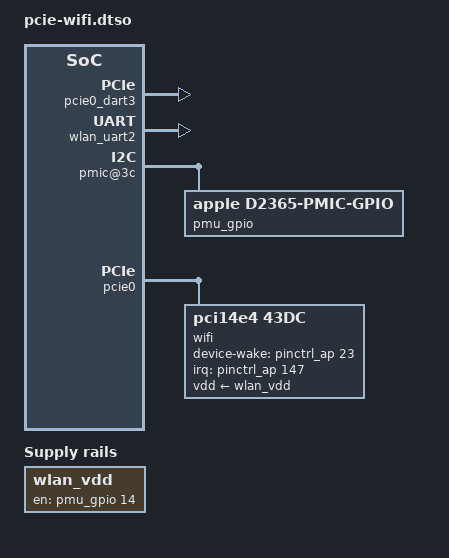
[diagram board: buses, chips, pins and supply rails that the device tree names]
/dts-v1/;
/plugin/;
/* J71b fresh-boot PCIe root0+root3 diagnostic. Root0 only enumerates ANS;
 * NVMe modules are NEVER loaded. Root3 probes BCM4355. No J172 board data.
 * This DTB is assembled offline, not applied to a running storage host.
 */
/ {
	compatible = "apple,j71b";
	fragment@0 {
		target-path = "/soc";
		__overlay__ {
			#address-cells = <2>;
			#size-cells = <2>;
			pcie0_dart3: iommu@604008000 {
				compatible = "apple,t8010-dart", "apple,s5l8960x-dart";
				reg = <0x6 0x04008000 0 0x4000>;
				#iommu-cells = <1>;
				interrupt-parent = <&aic>;
				interrupts = <0 280 4>;
				power-domains = <&ps_pcie>;
				apple,dma-range = <0 0x80000000 0 0x3ffff000>;
				status = "okay";
			};
			wlan_uart2: wlan-platform-control@20a0c8000 {
				compatible = "apple,t8010-wlan-uart-provider";
				reg = <2 0x0a0c8000 0 0x4000>;
				pinctrl-0 = <&wlan_uart2_pins>;
				pinctrl-names = "default";
				power-domains = <&ps_uart2>;
				status = "okay";
			};
		};
	};
	fragment@1 {
		target-path = "/soc/i2c@20a110000/pmic@3c";
		__overlay__ {
			pmu_gpio: gpio {
				compatible = "apple,d2365-pmic-gpio";
				gpio-controller;
				#gpio-cells = <2>;
				gpio-reserved-ranges = <0 13>, <15 9>;
			};
		};
	};
	fragment@2 {
		target-path = "/";
		__overlay__ {
			wlan_vdd: regulator-wlan-vdd {
				compatible = "regulator-fixed";
				regulator-name = "wlan-vdd";
				gpio = <&pmu_gpio 14 0>;
				enable-active-high;
				off-on-delay-us = <100000>;
			};
		};
	};
	fragment@3 {
		target = <&pinctrl_ap>;
		__overlay__ {
			wifi_clkreq: wifi-clkreq-pins {
				pinmux = <0x10013>; /* AP GPIO19 function1 */
			};
			wlan_uart2_pins: wlan-uart2-pins {
				pinmux = <0x10094 0x10096>; /* AP GPIO148,150 function1 */
			};
		};
	};
	fragment@4 {
		target = <&pcie0>;
		__overlay__ {
			#address-cells = <3>;
			#size-cells = <2>;
			iommu-map = <0x100 &pcie0_dart0 0 1>,
				    <0x200 &pcie0_dart3 0 1>;
			pinctrl-0 = <&wifi_clkreq>;
			pinctrl-names = "default";
			pci@3,0 {
				device_type = "pci";
				reg = <0x1800 0 0 0 0>;
				bus-range = <2 2>;
				max-link-speed = <1>;
				apple,manual-availability-iommu = <&pcie0_dart3 0>;
				apple,link-retry-after-power-cycle;
				apple,hardware-trained-phy-lane;
				apple,endpoint-power-after-link-setup;
				apple,inherited-perst-before-link-setup;
				reset-gpios = <&pinctrl_ap 15 1>;
				#address-cells = <3>;
				#size-cells = <2>;
				ranges;
				wifi@0,0 {
					compatible = "pci14e4,43dc";
					reg = <0x20000 0 0 0 0>;
					interrupts-extended = <&pinctrl_ap 147 2>;
					interrupt-names = "host-wake";
					apple,wlan-uart = <&wlan_uart2>;
					device-wake-gpios = <&pinctrl_ap 23 0>;
					vdd-supply = <&wlan_vdd>;
					/* Do not copy J172 antenna SKU or board type. */
				};
			};
		};
	};
};
